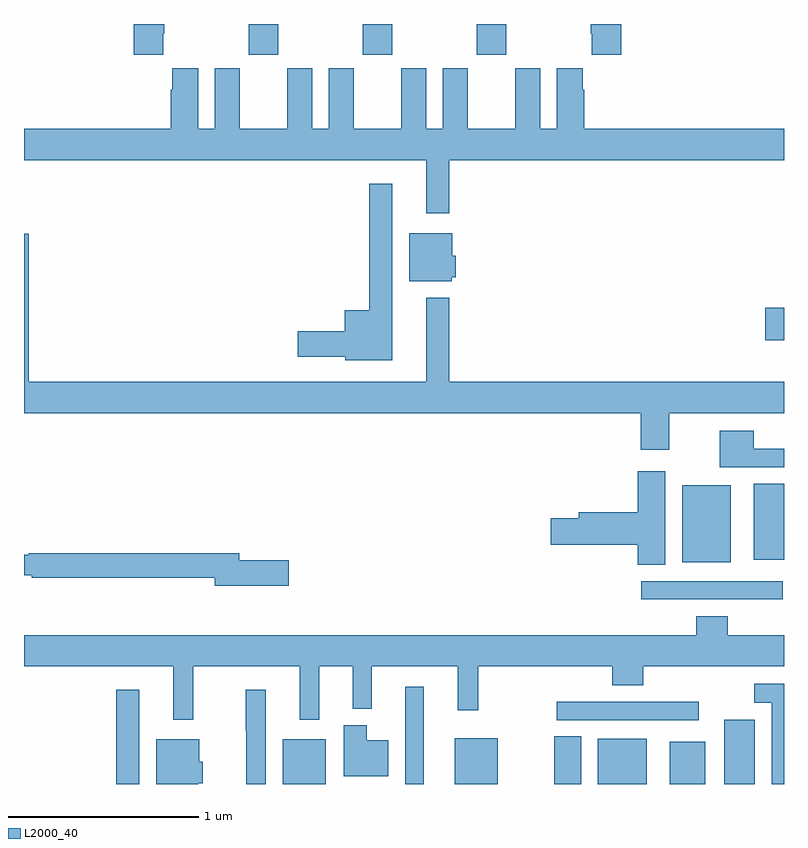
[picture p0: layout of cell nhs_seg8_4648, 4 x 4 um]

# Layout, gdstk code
import gdstk
lib = gdstk.Library(unit=1e-6, precision=1e-09)
def R(c, l, rs):  # rectangles x0, y0, x1, y1
    for r in rs: c.add(gdstk.rectangle(r[:2], r[2:], *l))
def A(c, l, x, y, w, h, nx, ny, dx, dy):  # array of equal rectangles
    R(c, l, [(x+i*dx, y+j*dy, x+i*dx+w, y+j*dy+h) for i in range(nx) for j in range(ny)])
def P(c, l, *ps):  # polygons
    for p in ps: c.add(gdstk.Polygon(p, *l))
L2000_40 = (2000, 40)

nhs_seg8_4648 = lib.new_cell('nhs_seg8_4648')
A(nhs_seg8_4648, L2000_40, 394.183, 1099.737, 0.155, 0.163, 3, 1, 0.6, 0)
R(nhs_seg8_4648, L2000_40, [(393.486,1095.9,393.607,1096.396), (394.361,1095.9,394.588,1096.135), (395.007,1095.9,395.104,1096.411), (395.267,1095.9,395.494,1096.141), (395.791,1095.9,395.932,1096.151), (396.02,1095.9,396.277,1096.138), (396.398,1095.9,396.586,1096.123), (396.686,1095.9,396.847,1096.237), (395.805,1096.236,396.55,1096.332), (396.249,1096.872,396.994,1096.968), (396.464,1097.066,396.721,1097.473), (396.842,1097.081,397,1097.479), (396.9,1098.236,397,1098.407)])
P(nhs_seg8_4648, L2000_40, [(393.733,1099.849),(393.738,1099.849),(393.738,1099.9),(393.578,1099.9),(393.578,1099.737),(393.733,1099.737)],
  [(396.143,1099.9),(395.983,1099.9),(395.983,1099.849),(395.987,1099.849),(395.987,1099.737),(396.143,1099.737)],
  [(395.239,1099.184),(397,1099.184),(397,1099.348),(395.948,1099.348),(395.948,1099.553),(395.941,1099.553),(395.941,1099.666),(395.804,1099.666),(395.804,1099.348),(395.716,1099.348),(395.716,1099.666),(395.585,1099.666),(395.585,1099.348),(395.335,1099.348),(395.335,1099.666),(395.204,1099.666),(395.204,1099.348),(395.116,1099.348),(395.116,1099.666),(394.985,1099.666),(394.985,1099.348),(394.735,1099.348),(394.735,1099.666),(394.604,1099.666),(394.604,1099.348),(394.516,1099.348),(394.516,1099.666),(394.385,1099.666),(394.385,1099.348),(394.135,1099.348),(394.135,1099.666),(394.004,1099.666),(394.004,1099.348),(393.916,1099.348),(393.916,1099.666),(393.779,1099.666),(393.779,1099.553),(393.773,1099.553),(393.773,1099.348),(393,1099.348),(393,1099.184),(395.117,1099.184),(395.117,1098.903),(395.239,1098.903)],
  [(394.939,1099.06),(394.818,1099.06),(394.818,1098.394),(394.688,1098.394),(394.688,1098.284),(394.44,1098.284),(394.44,1098.149),(394.692,1098.149),(394.692,1098.131),(394.939,1098.131)],
  [(395.25,1098.567),(395.272,1098.567),(395.272,1098.681),(395.254,1098.681),(395.254,1098.799),(395.027,1098.799),(395.027,1098.545),(395.25,1098.545)],
  [(396.245,1097.658),(396.397,1097.658),(396.397,1097.852),(397,1097.852),(397,1098.016),(395.239,1098.016),(395.239,1098.46),(395.117,1098.46),(395.117,1098.016),(393.026,1098.016),(393.026,1098.796),(393,1098.796),(393,1097.852),(396.245,1097.852)],
  [(397,1097.664),(396.841,1097.664),(396.841,1097.758),(396.662,1097.758),(396.662,1097.568),(397,1097.568)],
  [(396.376,1097.545),(396.23,1097.545),(396.23,1097.33),(395.921,1097.33),(395.921,1097.3),(395.772,1097.3),(395.772,1097.158),(396.23,1097.158),(396.23,1097.053),(396.376,1097.053)],
  [(394.393,1097.078),(394.132,1097.078),(394.132,1097.114),(393.026,1097.114),(393.026,1097.107),(393,1097.107),(393,1096.998),(393.04,1096.998),(393.04,1096.986),(394.004,1096.986),(394.004,1096.943),(394.393,1096.943)],
  [(393.892,1096.52),(394.451,1096.52),(394.451,1096.239),(394.555,1096.239),(394.555,1096.52),(394.73,1096.52),(394.73,1096.295),(394.829,1096.295),(394.829,1096.52),(395.282,1096.52),(395.282,1096.287),(395.392,1096.287),(395.392,1096.52),(396.095,1096.52),(396.095,1096.421),(396.26,1096.421),(396.26,1096.52),(397,1096.52),(397,1096.684),(396.704,1096.684),(396.704,1096.783),(396.539,1096.783),(396.539,1096.684),(393,1096.684),(393,1096.52),(393.785,1096.52),(393.785,1096.239),(393.892,1096.239)],
  [(397,1096.428),(396.843,1096.428),(396.843,1096.328),(396.936,1096.328),(396.936,1095.9),(397,1095.9)],
  [(394.273,1096.396),(394.167,1096.396),(394.167,1096.183),(394.169,1096.183),(394.169,1095.9),(394.273,1095.9)],
  [(394.918,1096.129),(394.804,1096.129),(394.804,1096.21),(394.682,1096.21),(394.682,1095.941),(394.918,1095.941)],
  [(393.918,1095.903),(393.94,1095.903),(393.94,1096.017),(393.922,1096.017),(393.922,1096.135),(393.695,1096.135),(393.695,1095.9),(393.918,1095.9)])

lib.write_gds('nhs_seg8_4648.gds')
